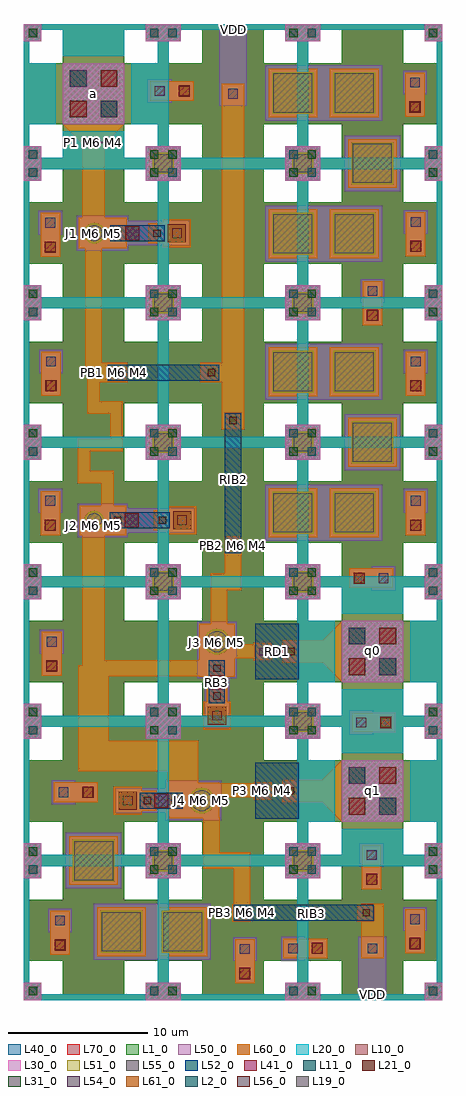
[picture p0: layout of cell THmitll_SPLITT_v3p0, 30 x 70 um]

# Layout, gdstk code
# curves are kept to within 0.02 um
from math import pi, radians
import gdstk
lib = gdstk.Library(unit=1e-6, precision=1e-09)
def R(c, l, rs):  # rectangles x0, y0, x1, y1
    for r in rs: c.add(gdstk.rectangle(r[:2], r[2:], *l))
def P(c, l, *ps):  # polygons
    for p in ps: c.add(gdstk.Polygon(p, *l))
L1_0 = (1, 0)
L2_0 = (2, 0)
L10_0 = (10, 0)
L11_0 = (11, 0)
L19_0 = (19, 0)
L20_0 = (20, 0)
L21_0 = (21, 0)
L30_0 = (30, 0)
L31_0 = (31, 0)
L40_0 = (40, 0)
L41_0 = (41, 0)
L50_0 = (50, 0)
L51_0 = (51, 0)
L52_0 = (52, 0)
L54_0 = (54, 0)
L55_0 = (55, 0)
L56_0 = (56, 0)
L60_0 = (60, 0)
L61_0 = (61, 0)
L70_0 = (70, 0)

ls_tr_m7 = lib.new_cell('ls_tr_M7')
P(ls_tr_m7, L70_0, [(0,0),(0,10),(1.25,10),(1.25,8.75),(0.4,8.75),(0.4,1.25),(1.25,1.25),(1.25,0.4),(2.8,0.4),(2.8,2.8),(0.4,2.8),(0.4,7.2),(2.8,7.2),(2.8,9.6),(1.25,9.6),(1.25,10),(7.2,10),(7.2,0.4),(8.75,0.4),(8.75,1.25),(9.6,1.25),(9.6,2.8),(7.2,2.8),(7.2,7.2),(9.6,7.2),(9.6,8.75),(8.75,8.75),(8.75,9.6),(7.2,9.6),(7.2,10),(10,10),(10,0)])

ls_tr_u_m4 = lib.new_cell('ls_tr_u_M4')
P(ls_tr_u_m4, L1_0, [(0,0),(0,10),(1.25,10),(1.25,8.75),(0.4,8.75),(0.4,1.25),(1.25,1.25),(1.25,0.4),(2.8,0.4),(2.8,2.8),(0.4,2.8),(0.4,7.2),(2.8,7.2),(2.8,9.6),(1.25,9.6),(1.25,10),(7.2,10),(7.2,0.4),(8.75,0.4),(8.75,1.25),(9.6,1.25),(9.6,2.8),(7.2,2.8),(7.2,7.2),(9.6,7.2),(9.6,8.75),(8.75,8.75),(8.75,9.6),(7.2,9.6),(7.2,10),(10,10),(10,0)])
R(ls_tr_u_m4, L2_0, [(9.05,0.35,9.65,0.95), (0.35,9.05,0.95,9.65)])
R(ls_tr_u_m4, L10_0, [(0,0,1.25,1.25), (8.75,0,10,1.25), (0,8.75,1.25,10), (8.75,8.75,10,10)])
R(ls_tr_u_m4, L11_0, [(0.35,0.35,0.95,0.95), (9.05,9.05,9.65,9.65)])
P(ls_tr_u_m4, L20_0, [(0,0),(0,10),(1.25,10),(1.25,8.75),(0.4,8.75),(0.4,1.25),(1.25,1.25),(1.25,0.4),(8.75,0.4),(8.75,1.25),(9.6,1.25),(9.6,8.75),(8.75,8.75),(8.75,9.6),(1.25,9.6),(1.25,10),(10,10),(10,0)])
R(ls_tr_u_m4, L21_0, [(9.05,0.35,9.65,0.95), (0.35,9.05,0.95,9.65)])
R(ls_tr_u_m4, L30_0, [(0,0,1.25,1.25), (8.75,0,10,1.25), (0,8.75,1.25,10), (8.75,8.75,10,10)])
R(ls_tr_u_m4, L31_0, [(0.35,0.35,0.95,0.95), (9.05,9.05,9.65,9.65)])
P(ls_tr_u_m4, L40_0, [(0,0),(0,10),(1.25,10),(1.25,8.75),(0.4,8.75),(0.4,1.25),(1.25,1.25),(1.25,0.4),(2.8,0.4),(2.8,2.8),(0.4,2.8),(0.4,7.2),(2.8,7.2),(2.8,9.6),(1.25,9.6),(1.25,10),(7.2,10),(7.2,0.4),(8.75,0.4),(8.75,1.25),(9.6,1.25),(9.6,2.8),(7.2,2.8),(7.2,7.2),(9.6,7.2),(9.6,8.75),(8.75,8.75),(8.75,9.6),(7.2,9.6),(7.2,10),(10,10),(10,0)])
ls_tr_u_m4.add(gdstk.Reference(ls_tr_m7, (0,0)))

th_jj_250_sg = lib.new_cell('th_jj_250_sg')
R(th_jj_250_sg, L41_0, [(-0.5,2.4,0.5,3.4)])
R(th_jj_250_sg, L50_0, [(-1.425,-1.425,1.425,2.625), (-0.875,2.625,0.875,6.175)])
P(th_jj_250_sg, L51_0, [(0,-0.91),(-0.18,-0.895),(-0.35,-0.84),(-0.645,-0.645),(-0.84,-0.35),(-0.91,0),(-0.895,0.18),(-0.84,0.35),(-0.645,0.645),(-0.35,0.84),(-0.18,0.895),(0,0.91),(0.18,0.895),(0.35,0.84),(0.645,0.645),(0.84,0.35),(0.895,0.18),(0.91,0),(0.84,-0.35),(0.645,-0.645),(0.35,-0.84),(0.18,-0.895)])
R(th_jj_250_sg, L52_0, [(-0.575,1.35,0.575,4.425)])
R(th_jj_250_sg, L54_0, [(-0.35,4.95,0.35,5.65)])
P(th_jj_250_sg, L55_0, [(0,-0.76),(-0.15,-0.75),(-0.29,-0.7),(-0.54,-0.54),(-0.7,-0.29),(-0.75,-0.15),(-0.76,0),(-0.75,0.15),(-0.7,0.29),(-0.54,0.54),(-0.29,0.7),(-0.15,0.75),(0,0.76),(0.15,0.75),(0.29,0.7),(0.54,0.54),(0.7,0.29),(0.75,0.15),(0.76,0),(0.75,-0.15),(0.7,-0.29),(0.54,-0.54),(0.29,-0.7),(0.15,-0.75)])
R(th_jj_250_sg, L56_0, [(-0.26,1.64,0.26,2.16), (-0.26,3.63,0.26,4.15)])
R(th_jj_250_sg, L60_0, [(-1.275,-1.275,1.275,2.525), (-0.725,3.25,0.725,6.025), (-1,4.3,1,6.3)])
R(th_jj_250_sg, L61_0, [(-0.65,4.65,0.65,5.95)])

ls_tr_ptl_conn = lib.new_cell('ls_tr_ptl_conn')
P(ls_tr_ptl_conn, L1_0, [(0,0),(0,10),(1.25,10),(1.25,8.75),(0.4,8.75),(0.4,1.25),(1.25,1.25),(1.25,0.4),(2.8,0.4),(2.8,2.8),(0.4,2.8),(0.4,7.2),(2.8,7.2),(2.8,9.6),(1.25,9.6),(1.25,10),(7.2,10),(7.2,0.4),(8.75,0.4),(8.75,1.25),(9.6,1.25),(9.6,2.8),(7.2,2.8),(7.2,7.2),(9.6,7.2),(9.6,8.75),(8.75,8.75),(8.75,9.6),(7.2,9.6),(7.2,10),(10,10),(10,0)])
R(ls_tr_ptl_conn, L2_0, [(9.05,0.35,9.65,0.95), (0.35,9.05,0.95,9.65)])
R(ls_tr_ptl_conn, L10_0, [(0,0,1.25,1.25), (8.75,0,10,1.25), (2.8,2.8,7.2,7.2), (0,8.75,1.25,10), (8.75,8.75,10,10)])
R(ls_tr_ptl_conn, L11_0, [(0.35,0.35,0.95,0.95), (3.3,3.3,4.5,4.5), (5.5,5.5,6.7,6.7), (9.05,9.05,9.65,9.65)])
R(ls_tr_ptl_conn, L20_0, [(2.8,2.8,7.2,7.2)])
P(ls_tr_ptl_conn, L20_0, [(0,0),(0,10),(7.2,10),(7.2,7.7),(2.8,7.7),(2.8,9.6),(1.25,9.6),(1.25,8.75),(0.4,8.75),(0.4,7.2),(2.3,7.2),(2.3,2.8),(0.4,2.8),(0.4,1.25),(1.25,1.25),(1.25,0.4),(2.8,0.4),(2.8,2.3),(7.2,2.3),(7.2,0.4),(8.75,0.4),(8.75,1.25),(9.6,1.25),(9.6,2.8),(7.7,2.8),(7.7,7.2),(9.6,7.2),(9.6,8.75),(8.75,8.75),(8.75,9.6),(7.2,9.6),(7.2,10),(10,10),(10,0)])
R(ls_tr_ptl_conn, L21_0, [(9.05,0.35,9.65,0.95), (5.5,3.3,6.7,4.5), (3.3,5.5,4.5,6.7), (0.35,9.05,0.95,9.65)])
R(ls_tr_ptl_conn, L30_0, [(0,0,1.25,1.25), (8.75,0,10,1.25), (2.8,2.8,7.2,7.2), (0,8.75,1.25,10), (8.75,8.75,10,10)])
R(ls_tr_ptl_conn, L31_0, [(0.35,0.35,0.95,0.95), (3.3,3.3,4.5,4.5), (5.5,5.5,6.7,6.7), (9.05,9.05,9.65,9.65)])
R(ls_tr_ptl_conn, L40_0, [(2.8,2.8,7.2,7.2)])
P(ls_tr_ptl_conn, L40_0, [(0,0),(0,10),(7.2,10),(7.2,7.7),(2.8,7.7),(2.8,9.6),(1.25,9.6),(1.25,8.75),(0.4,8.75),(0.4,7.2),(2.3,7.2),(2.3,2.8),(0.4,2.8),(0.4,1.25),(1.25,1.25),(1.25,0.4),(2.8,0.4),(2.8,2.3),(7.2,2.3),(7.2,0.4),(8.75,0.4),(8.75,1.25),(9.6,1.25),(9.6,2.8),(7.7,2.8),(7.7,7.2),(9.6,7.2),(9.6,8.75),(8.75,8.75),(8.75,9.6),(7.2,9.6),(7.2,10),(10,10),(10,0)])
R(ls_tr_ptl_conn, L41_0, [(5.5,3.3,6.7,4.5), (3.3,5.5,4.5,6.7)])
R(ls_tr_ptl_conn, L50_0, [(2.8,2.8,7.2,7.2)])
R(ls_tr_ptl_conn, L54_0, [(3.3,3.3,4.5,4.5), (5.5,5.5,6.7,6.7)])
R(ls_tr_ptl_conn, L60_0, [(2.8,2.8,7.2,7.2)])
P(ls_tr_ptl_conn, L70_0, [(0,0),(0,10),(1.25,10),(1.25,8.75),(0.4,8.75),(0.4,1.25),(1.25,1.25),(1.25,0.4),(2.8,0.4),(2.8,2.8),(0.4,2.8),(0.4,7.2),(2.8,7.2),(2.8,9.6),(1.25,9.6),(1.25,10),(7.2,10),(7.2,0.4),(8.75,0.4),(8.75,1.25),(9.6,1.25),(9.6,2.8),(7.2,2.8),(7.2,7.2),(9.6,7.2),(9.6,8.75),(8.75,8.75),(8.75,9.6),(7.2,9.6),(7.2,10),(10,10),(10,0)])

ls_res_1p36 = lib.new_cell('ls_res_1p36')
R(ls_res_1p36, L52_0, [(-2,0,2,3.1)])
R(ls_res_1p36, L56_0, [(-0.26,0.29,0.26,0.81), (-0.26,2.3,0.26,2.82)])
R(ls_res_1p36, L60_0, [(-0.625,-0.1,0.625,1.175), (-0.625,1.925,0.625,3.2)])

ls_conn_m5m6m7 = lib.new_cell('ls_conn_M5M6M7')
R(ls_conn_m5m6m7, L60_0, [(-0.65,-0.65,1.35,1.35)])
R(ls_conn_m5m6m7, L61_0, [(-0.3,-0.3,1,1)])
R(ls_conn_m5m6m7, L70_0, [(-0.65,-0.65,1.35,1.35)])

th_jj_136_sg = lib.new_cell('th_jj_136_sg')
R(th_jj_136_sg, L41_0, [(-0.5,2.175,0.5,3.175)])
R(th_jj_136_sg, L50_0, [(-1.2,-1.2,1.2,2.4), (-0.875,2.4,0.875,7.175)])
P(th_jj_136_sg, L51_0, [(0,-0.68),(-0.26,-0.63),(-0.48,-0.48),(-0.63,-0.26),(-0.68,0),(-0.63,0.26),(-0.48,0.48),(-0.26,0.625),(0,0.68),(0.26,0.625),(0.48,0.48),(0.63,0.26),(0.68,0),(0.63,-0.26),(0.48,-0.48),(0.26,-0.63)])
R(th_jj_136_sg, L52_0, [(-0.575,1.125,0.575,5.425)])
R(th_jj_136_sg, L54_0, [(-0.35,5.95,0.35,6.65)])
P(th_jj_136_sg, L55_0, [(0,-0.53),(-0.2,-0.49),(-0.37,-0.39),(-0.49,-0.2),(-0.53,0),(-0.49,0.2),(-0.37,0.37),(-0.2,0.49),(0,0.53),(0.2,0.49),(0.37,0.37),(0.49,0.2),(0.53,0),(0.49,-0.2),(0.37,-0.39),(0.2,-0.49)])
R(th_jj_136_sg, L56_0, [(-0.26,1.4,0.26,1.92), (-0.26,4.63,0.26,5.15)])
R(th_jj_136_sg, L60_0, [(-1.05,-1.05,1.05,2.3), (-0.725,4.25,0.725,7.025)])
th_jj_136_sg.add(gdstk.Reference(ls_conn_m5m6m7, (-0.35,6.65), rotation=3*pi/2))

th_jj_160_sg = lib.new_cell('th_jj_160_sg')
R(th_jj_160_sg, L41_0, [(-0.5,2.225,0.5,3.225)])
R(th_jj_160_sg, L50_0, [(-1.25,-1.25,1.25,2.425), (-0.875,2.425,0.875,6.8)])
P(th_jj_160_sg, L51_0, [(0,-0.735),(-0.28,-0.68),(-0.52,-0.52),(-0.68,-0.28),(-0.735,0),(-0.68,0.28),(-0.52,0.52),(-0.28,0.68),(0,0.735),(0.28,0.68),(0.52,0.52),(0.68,0.28),(0.735,0),(0.68,-0.28),(0.52,-0.52),(0.28,-0.68)])
R(th_jj_160_sg, L52_0, [(-0.575,1.15,0.575,5.05)])
R(th_jj_160_sg, L54_0, [(-0.35,5.575,0.35,6.275)])
P(th_jj_160_sg, L55_0, [(0,-0.58),(-0.22,-0.54),(-0.41,-0.41),(-0.54,-0.22),(-0.58,0),(-0.54,0.23),(-0.41,0.42),(-0.22,0.54),(0,0.59),(0.22,0.54),(0.41,0.42),(0.54,0.23),(0.58,0),(0.54,-0.22),(0.41,-0.41),(0.22,-0.54)])
R(th_jj_160_sg, L56_0, [(-0.26,1.43,0.26,1.95), (-0.26,4.24,0.26,4.76)])
R(th_jj_160_sg, L60_0, [(-1.1,-1.1,1.1,2.325), (-0.725,3.875,0.725,6.65), (-1,4.925,1,6.925)])
R(th_jj_160_sg, L61_0, [(-0.65,5.275,0.65,6.575)])

th_ib_231 = lib.new_cell('th_ib_231')
R(th_ib_231, L52_0, [(-0.575,0,0.575,8)])
R(th_ib_231, L56_0, [(-0.26,0.29,0.26,0.81), (-0.26,7.19,0.26,7.71)])
R(th_ib_231, L60_0, [(-0.625,-0.1,0.625,1.175), (-0.625,6.825,0.625,8.1)])

th_ib_175 = lib.new_cell('th_ib_175')
R(th_ib_175, L52_0, [(-0.575,0,0.575,10.05)])
R(th_ib_175, L56_0, [(-0.26,0.29,0.26,0.81), (-0.26,9.26,0.26,9.78)])
R(th_ib_175, L60_0, [(-0.625,-0.1,0.625,1.175), (-0.625,8.9,0.625,10.15)])

ls_conn_m5m6 = lib.new_cell('ls_conn_M5M6')
R(ls_conn_m5m6, L50_0, [(0,0,1.7,1.7)])
R(ls_conn_m5m6, L54_0, [(0.5,0.5,1.2,1.2)])
R(ls_conn_m5m6, L60_0, [(0.15,0.15,1.55,1.55)])

ls_fakejj_1p5x1p5um = lib.new_cell('ls_FakeJJ_1p5x1p5um')
R(ls_fakejj_1p5x1p5um, L40_0, [(-1.25,-1.25,1.25,1.25)])
R(ls_fakejj_1p5x1p5um, L50_0, [(-1.25,-1.25,1.25,1.25)])
R(ls_fakejj_1p5x1p5um, L51_0, [(-0.75,-0.75,0.75,0.75)])
R(ls_fakejj_1p5x1p5um, L55_0, [(-0.65,-0.65,0.65,0.65)])
R(ls_fakejj_1p5x1p5um, L60_0, [(-1,-1,1,1)])

ls_conn_m4m5m6m7 = lib.new_cell('ls_conn_M4M5M6M7')
R(ls_conn_m4m5m6m7, L40_0, [(0,0,1.4,1.4)])
R(ls_conn_m4m5m6m7, L41_0, [(0.3,0.3,1.1,1.1)])
P(ls_conn_m4m5m6m7, L50_0, [(1.6,-0.15),(1.6,0),(0,0),(0,1.4),(1.6,1.4),(1.6,1.55),(3.3,1.55),(3.3,-0.15)])
R(ls_conn_m4m5m6m7, L54_0, [(2.1,0.35,2.8,1.05)])
R(ls_conn_m4m5m6m7, L60_0, [(0,0,3.15,1.4)])
R(ls_conn_m4m5m6m7, L61_0, [(0.35,0.35,1.05,1.05)])
R(ls_conn_m4m5m6m7, L70_0, [(0,0,1.4,1.4)])

ls_fakejj_3umx3um = lib.new_cell('ls_FakeJJ_3umx3um')
R(ls_fakejj_3umx3um, L40_0, [(-2,-2,2,2)])
R(ls_fakejj_3umx3um, L50_0, [(-2,-2,2,2)])
R(ls_fakejj_3umx3um, L51_0, [(-1.5,-1.5,1.5,1.5)])
R(ls_fakejj_3umx3um, L55_0, [(-1.4,-1.4,1.4,1.4)])
R(ls_fakejj_3umx3um, L60_0, [(-1.75,-1.75,1.75,1.75)])

thmitll_splitt_v3p0 = lib.new_cell('THmitll_SPLITT_v3p0')
P(thmitll_splitt_v3p0, L1_0, [(7.2,17.2),(7.2,19.6),(8.75,19.6),(8.75,18.75),(9.6,18.75),(9.6,17.2)],
  [(10.4,17.2),(10.4,18.75),(11.25,18.75),(11.25,19.6),(12.8,19.6),(12.8,17.2)])
R(thmitll_splitt_v3p0, L19_0, [(15.35,6,15.85,6.5), (16.9,14.75,17.4,15.25), (16.9,24.7,17.4,25.25), (14.75,32.35,15.25,32.85), (6.25,44.75,6.75,45.25)])
P(thmitll_splitt_v3p0, L40_0, [(7.2,17.2),(7.2,19.6),(8.75,19.6),(8.75,18.75),(9.6,18.75),(9.6,17.2)],
  [(10.4,17.2),(10.4,18.75),(11.25,18.75),(11.25,19.6),(12.8,19.6),(12.8,17.2)])
R(thmitll_splitt_v3p0, L50_0, [(5,2.9,13.4,6.9), (17.3,32.95,25.7,36.95), (17.3,43.05,25.7,47.05), (17.3,52.95,25.7,56.95), (17.3,63.05,25.7,67.05)])
P(thmitll_splitt_v3p0, L60_0, [(22.85,22.8),(20.65,25),(22.85,27.2)],
  [(22.8,12.8),(20.6,15),(22.8,17.2)],
  [(5,60.6),(2.8,62.8),(7.2,62.8)])
P(thmitll_splitt_v3p0, L70_0, [(7.2,17.2),(7.2,19.6),(8.75,19.6),(8.75,18.75),(9.6,18.75),(9.6,17.2)],
  [(10.4,17.2),(10.4,18.75),(11.25,18.75),(11.25,19.6),(12.8,19.6),(12.8,17.2)])
thmitll_splitt_v3p0.add(gdstk.FlexPath([(7.4,45),(5,45)], 1.4, ends="flush", simple_path=True, layer=60, datatype=0))  # L60_0
thmitll_splitt_v3p0.add(gdstk.FlexPath([(12.65,45),(15,45)], 1.4, ends="flush", simple_path=True, layer=60, datatype=0))  # L60_0
thmitll_splitt_v3p0.add(gdstk.FlexPath([(5,54),(5,51.5),(5,45)], 1.2, ends="flush", simple_path=True, layer=60, datatype=0))  # L60_0
thmitll_splitt_v3p0.add(gdstk.FlexPath([(5,45),(5,42.5),(6.65,42.5),(6.65,39.8),(4.3,39.8),(4.3,37.5),(6,37.5),(6,35.05)], 0.9, ends="flush", simple_path=True, layer=60, datatype=0))  # L60_0
thmitll_splitt_v3p0.add(gdstk.FlexPath([(5,33.85),(5,23.8)], 1.6, ends="flush", simple_path=True, layer=60, datatype=0))  # L60_0
thmitll_splitt_v3p0.add(gdstk.FlexPath([(5,23.8),(12.7,23.8)], 1.15, ends="flush", simple_path=True, layer=60, datatype=0))  # L60_0
thmitll_splitt_v3p0.add(gdstk.FlexPath([(11.4,15.5),(11.4,17.5),(5,17.5),(5,24)], 2.2, ends="flush", simple_path=True, layer=60, datatype=0))  # L60_0
thmitll_splitt_v3p0.add(gdstk.FlexPath([(15,65.7),(15,40.95)], 1.6, ends="flush", simple_path=True, layer=60, datatype=0))  # L60_0
thmitll_splitt_v3p0.add(gdstk.FlexPath([(15.65,5.6),(15.65,10),(13.45,10),(13.45,13.1)], 1.2, ends="flush", simple_path=True, layer=60, datatype=0))  # L60_0
thmitll_splitt_v3p0.add(gdstk.FlexPath([(17.75,15.05),(13.89,15.05)], 1, ends="flush", simple_path=True, layer=60, datatype=0))  # L60_0
thmitll_splitt_v3p0.add(gdstk.FlexPath([(25,6.9),(25,3)], 1.6, ends="flush", simple_path=True, layer=60, datatype=0))  # L60_0
thmitll_splitt_v3p0.add(gdstk.FlexPath([(15,33.25),(15,30),(14,30),(14,26.7)], 1.2, ends="flush", simple_path=True, layer=60, datatype=0))  # L60_0
thmitll_splitt_v3p0.add(gdstk.FlexPath([(14.9,25),(17.75,25)], 1, ends="flush", simple_path=True, layer=60, datatype=0))  # L60_0
thmitll_splitt_v3p0.add(gdstk.FlexPath([(18.55,25),(21.5,25)], 1.6, ends="flush", simple_path=True, layer=60, datatype=0))  # L60_0
thmitll_splitt_v3p0.add(gdstk.FlexPath([(18.55,15),(21.5,15)], 1.6, ends="flush", simple_path=True, layer=60, datatype=0))  # L60_0
thmitll_splitt_v3p0.add(gdstk.FlexPath([(5,61.5),(5,56)], 1.6, ends="flush", simple_path=True, layer=60, datatype=0))  # L60_0
thmitll_splitt_v3p0.add(gdstk.FlexPath([(25,4.55),(25,0)], 2, ends="flush", simple_path=True, layer=50, datatype=0))  # L50_0
thmitll_splitt_v3p0.add(gdstk.FlexPath([(15,70),(15,64.15)], 2, ends="flush", simple_path=True, layer=50, datatype=0))  # L50_0
thmitll_splitt_v3p0.add(gdstk.FlexPath([(4.2,61.5),(5.8,61.5)], 0.1, ends="flush", simple_path=True, layer=19, datatype=0))  # L19_0
r = gdstk.Reference(ls_tr_u_m4, (0,0)); r.repetition = gdstk.Repetition(1, 6, v1=(0,0), v2=(0,10)); thmitll_splitt_v3p0.add(r)
r = gdstk.Reference(ls_tr_u_m4, (10,0)); r.repetition = gdstk.Repetition(1, 7, v1=(0,0), v2=(0,10)); thmitll_splitt_v3p0.add(r)
thmitll_splitt_v3p0.add(gdstk.Reference(th_jj_250_sg, (12.75,14.3), rotation=pi/2))
thmitll_splitt_v3p0.add(gdstk.Reference(ls_tr_ptl_conn, (30,10), rotation=pi/2))
thmitll_splitt_v3p0.add(gdstk.Reference(ls_tr_ptl_conn, (30,20), rotation=pi/2))
thmitll_splitt_v3p0.add(gdstk.Reference(ls_tr_u_m4, (20,30)))
r = gdstk.Reference(ls_tr_u_m4, (20,50)); r.repetition = gdstk.Repetition(1, 2, v1=(0,0), v2=(0,10)); thmitll_splitt_v3p0.add(r)
thmitll_splitt_v3p0.add(gdstk.Reference(ls_res_1p36, (19.7,15), rotation=pi/2))
thmitll_splitt_v3p0.add(gdstk.Reference(ls_tr_u_m4, (20,0)))
thmitll_splitt_v3p0.add(gdstk.Reference(ls_tr_u_m4, (20,40)))
thmitll_splitt_v3p0.add(gdstk.Reference(th_jj_136_sg, (5.05,34.4), rotation=3*pi/2))
thmitll_splitt_v3p0.add(gdstk.Reference(th_jj_160_sg, (5.05,55), rotation=3*pi/2))
thmitll_splitt_v3p0.add(gdstk.Reference(th_ib_231, (6,45), rotation=3*pi/2))
thmitll_splitt_v3p0.add(gdstk.Reference(ls_res_1p36, (16.6,25), rotation=3*pi/2))
thmitll_splitt_v3p0.add(gdstk.Reference(th_ib_175, (15,32.05)))
thmitll_splitt_v3p0.add(gdstk.Reference(ls_conn_m5m6, (14.15,64.15)))
thmitll_splitt_v3p0.add(gdstk.Reference(th_ib_175, (25.1,6.25), rotation=pi/2))
thmitll_splitt_v3p0.add(gdstk.Reference(ls_conn_m5m6, (25.85,2.85), rotation=pi/2))
thmitll_splitt_v3p0.add(gdstk.Reference(ls_tr_ptl_conn, (10,60), rotation=pi/2))
thmitll_splitt_v3p0.add(gdstk.Reference(ls_fakejj_1p5x1p5um, (20,10), rotation=pi/2))
thmitll_splitt_v3p0.add(gdstk.Reference(ls_fakejj_1p5x1p5um, (10,10), rotation=pi/2))
thmitll_splitt_v3p0.add(gdstk.Reference(ls_fakejj_1p5x1p5um, (20,20), rotation=pi/2))
thmitll_splitt_v3p0.add(gdstk.Reference(ls_fakejj_1p5x1p5um, (20,30), rotation=pi/2))
thmitll_splitt_v3p0.add(gdstk.Reference(ls_fakejj_1p5x1p5um, (10,30), rotation=pi/2))
thmitll_splitt_v3p0.add(gdstk.Reference(ls_fakejj_1p5x1p5um, (10,40), rotation=pi/2))
thmitll_splitt_v3p0.add(gdstk.Reference(ls_fakejj_1p5x1p5um, (20,40), rotation=pi/2))
thmitll_splitt_v3p0.add(gdstk.Reference(ls_fakejj_1p5x1p5um, (20,50), rotation=pi/2))
thmitll_splitt_v3p0.add(gdstk.Reference(ls_fakejj_1p5x1p5um, (10,50), rotation=pi/2))
thmitll_splitt_v3p0.add(gdstk.Reference(ls_fakejj_1p5x1p5um, (10,60), rotation=pi/2))
thmitll_splitt_v3p0.add(gdstk.Reference(ls_fakejj_1p5x1p5um, (20,60), rotation=pi/2))
thmitll_splitt_v3p0.add(gdstk.Reference(ls_conn_m4m5m6m7, (28.75,3.35), rotation=pi/2))
thmitll_splitt_v3p0.add(gdstk.Reference(ls_conn_m4m5m6m7, (25.65,7.95), rotation=pi/2))
thmitll_splitt_v3p0.add(gdstk.Reference(ls_conn_m4m5m6m7, (21.75,4.4), rotation=pi))
thmitll_splitt_v3p0.add(gdstk.Reference(ls_conn_m4m5m6m7, (26.65,20.6), rotation=pi))
thmitll_splitt_v3p0.add(gdstk.Reference(ls_conn_m4m5m6m7, (2.6,33.35), rotation=pi/2))
thmitll_splitt_v3p0.add(gdstk.Reference(ls_conn_m4m5m6m7, (2.65,43.35), rotation=pi/2))
thmitll_splitt_v3p0.add(gdstk.Reference(ls_conn_m4m5m6m7, (2.6,53.3), rotation=pi/2))
thmitll_splitt_v3p0.add(gdstk.Reference(ls_conn_m4m5m6m7, (12.2,65.9), rotation=pi))
thmitll_splitt_v3p0.add(gdstk.Reference(ls_conn_m4m5m6m7, (2.7,23.25), rotation=pi/2))
thmitll_splitt_v3p0.add(gdstk.Reference(ls_fakejj_3umx3um, (19.3,65.05), rotation=pi/2))
thmitll_splitt_v3p0.add(gdstk.Reference(ls_fakejj_3umx3um, (23.7,65.05), rotation=pi/2))
thmitll_splitt_v3p0.add(gdstk.Reference(ls_conn_m4m5m6m7, (28.75,63.35), rotation=pi/2))
thmitll_splitt_v3p0.add(gdstk.Reference(ls_fakejj_3umx3um, (19.3,54.95), rotation=pi/2))
thmitll_splitt_v3p0.add(gdstk.Reference(ls_fakejj_3umx3um, (23.7,54.95), rotation=pi/2))
thmitll_splitt_v3p0.add(gdstk.Reference(ls_fakejj_3umx3um, (25,60), rotation=pi))
thmitll_splitt_v3p0.add(gdstk.Reference(ls_conn_m4m5m6m7, (28.8,53.35), rotation=pi/2))
thmitll_splitt_v3p0.add(gdstk.Reference(ls_conn_m4m5m6m7, (25.7,48.4), rotation=pi/2))
thmitll_splitt_v3p0.add(gdstk.Reference(ls_conn_m4m5m6m7, (28.8,43.35), rotation=pi/2))
thmitll_splitt_v3p0.add(gdstk.Reference(ls_fakejj_3umx3um, (19.3,45.05), rotation=pi/2))
thmitll_splitt_v3p0.add(gdstk.Reference(ls_fakejj_3umx3um, (23.7,45.05), rotation=pi/2))
thmitll_splitt_v3p0.add(gdstk.Reference(ls_fakejj_3umx3um, (19.3,34.95), rotation=pi/2))
thmitll_splitt_v3p0.add(gdstk.Reference(ls_fakejj_3umx3um, (23.7,34.95), rotation=pi/2))
thmitll_splitt_v3p0.add(gdstk.Reference(ls_fakejj_3umx3um, (25,40), rotation=pi/2))
thmitll_splitt_v3p0.add(gdstk.Reference(ls_conn_m4m5m6m7, (28.8,33.35), rotation=pi/2))
thmitll_splitt_v3p0.add(gdstk.Reference(ls_conn_m4m5m6m7, (23.35,29.55)))
thmitll_splitt_v3p0.add(gdstk.Reference(ls_conn_m4m5m6m7, (16.55,1.2), rotation=pi/2))
thmitll_splitt_v3p0.add(gdstk.Reference(ls_fakejj_3umx3um, (11.4,4.9), rotation=pi/2))
thmitll_splitt_v3p0.add(gdstk.Reference(ls_fakejj_3umx3um, (7,4.9), rotation=pi/2))
thmitll_splitt_v3p0.add(gdstk.Reference(ls_fakejj_3umx3um, (5,10), rotation=pi/2))
thmitll_splitt_v3p0.add(gdstk.Reference(ls_conn_m4m5m6m7, (3.3,3.25), rotation=pi/2))
thmitll_splitt_v3p0.add(gdstk.Reference(ls_conn_m4m5m6m7, (5.3,15.6), rotation=pi))
thmitll_splitt_v3p0.add(gdstk.Reference(th_jj_250_sg, (13.85,25.7), rotation=pi))
thmitll_splitt_v3p0.add(gdstk.Label('VDD', (15,69.6), layer=50, texttype=0))
thmitll_splitt_v3p0.add(gdstk.Label('VDD', (25,0.4), layer=50, texttype=0))
thmitll_splitt_v3p0.add(gdstk.Label('GND', (13.35,69.6), layer=40, texttype=0))
thmitll_splitt_v3p0.add(gdstk.Label('PB1 M6 M4', (6.5,45), layer=182, texttype=0))
thmitll_splitt_v3p0.add(gdstk.Label('J4 M6 M5', (12.75,14.3), layer=182, texttype=0))
thmitll_splitt_v3p0.add(gdstk.Label('J2 M6 M5', (5,34.05), layer=182, texttype=0))
thmitll_splitt_v3p0.add(gdstk.Label('J3 M6 M5', (13.85,25.65), layer=182, texttype=0))
thmitll_splitt_v3p0.add(gdstk.Label('P3 M6 M4', (17.15,15), layer=182, texttype=0))
thmitll_splitt_v3p0.add(gdstk.Label('P1 M6 M4', (5,61.5), layer=182, texttype=0))
thmitll_splitt_v3p0.add(gdstk.Label('J1 M6 M5', (5,55), layer=182, texttype=0))
thmitll_splitt_v3p0.add(gdstk.Label('PB2 M6 M4', (15,32.6), layer=182, texttype=0))
thmitll_splitt_v3p0.add(gdstk.Label('P2 M6 M4', (17.15,25), layer=182, texttype=0))
thmitll_splitt_v3p0.add(gdstk.Label('PB3 M6 M4', (15.65,6.25), layer=182, texttype=0))
thmitll_splitt_v3p0.add(gdstk.Label('RIB1', (9.75,44.95), layer=52, texttype=11))
thmitll_splitt_v3p0.add(gdstk.Label('RB4', (9.85,14.3), layer=52, texttype=11))
thmitll_splitt_v3p0.add(gdstk.Label('RB2', (7.65,34.05), layer=52, texttype=11))
thmitll_splitt_v3p0.add(gdstk.Label('RB3', (13.85,22.8), layer=52, texttype=11))
thmitll_splitt_v3p0.add(gdstk.Label('RD2', (18.15,15), layer=52, texttype=11))
thmitll_splitt_v3p0.add(gdstk.Label('RB1', (7.75,55), layer=52, texttype=11))
thmitll_splitt_v3p0.add(gdstk.Label('RIB2', (15,37.35), layer=52, texttype=11))
thmitll_splitt_v3p0.add(gdstk.Label('RD1', (18.2,25), layer=52, texttype=11))
thmitll_splitt_v3p0.add(gdstk.Label('RIB3', (20.6,6.2), layer=52, texttype=11))
thmitll_splitt_v3p0.add(gdstk.Label('q1', (25,15), layer=60, texttype=5))
thmitll_splitt_v3p0.add(gdstk.Label('q0', (25,25.05), layer=60, texttype=5))
thmitll_splitt_v3p0.add(gdstk.Label('a', (5,65), layer=60, texttype=5))

lib.write_gds('THmitll_SPLITT_v3p0.gds')
